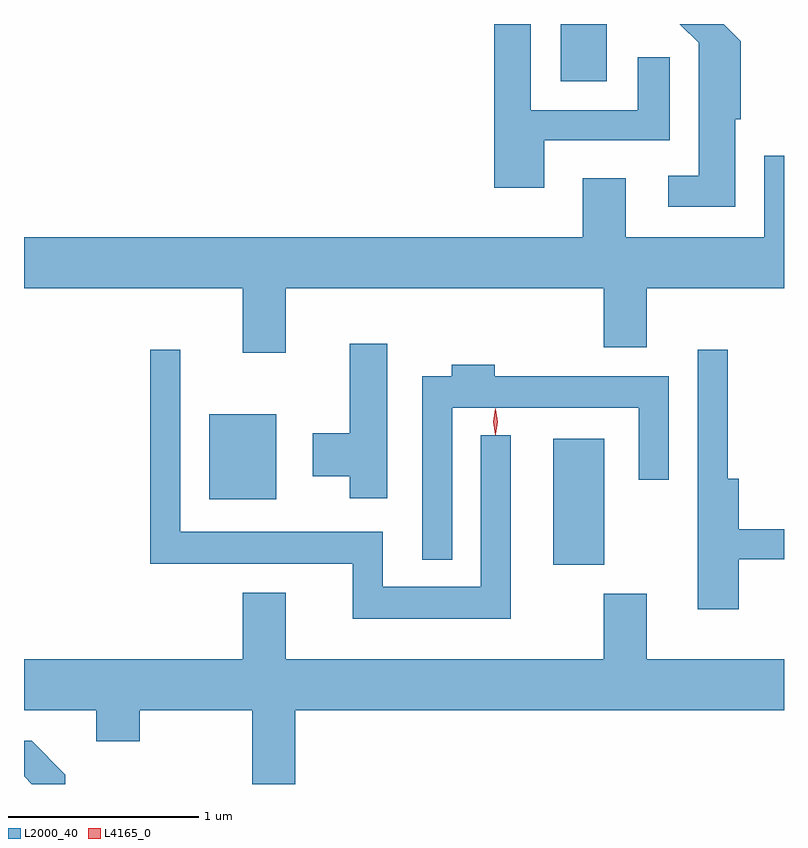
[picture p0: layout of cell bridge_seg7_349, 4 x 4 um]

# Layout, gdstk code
import gdstk
lib = gdstk.Library(unit=1e-6, precision=1e-09)
def R(c, l, rs):  # rectangles x0, y0, x1, y1
    for r in rs: c.add(gdstk.rectangle(r[:2], r[2:], *l))
def P(c, l, *ps):  # polygons
    for p in ps: c.add(gdstk.Polygon(p, *l))
L2000_40 = (2000, 40)
L4165_0 = (4165, 0)

bridge_seg7_349 = lib.new_cell('bridge_seg7_349')
R(bridge_seg7_349, L2000_40, [(1184.656,1763.921,1184.924,1764.584), (1182.846,1764.266,1183.199,1764.714), (1184.696,1766.466,1184.939,1766.767)])
P(bridge_seg7_349, L2000_40, [(1185.614,1766.266),(1185.644,1766.266),(1185.644,1766.677),(1185.554,1766.767),(1185.323,1766.767),(1185.421,1766.669),(1185.421,1765.969),(1185.263,1765.969),(1185.263,1765.806),(1185.614,1765.806)],
  [(1184.609,1766.156),(1185.269,1766.156),(1185.269,1766.593),(1185.101,1766.593),(1185.101,1766.314),(1184.539,1766.314),(1184.539,1766.767),(1184.346,1766.767),(1184.346,1765.906),(1184.609,1765.906)],
  [(1183.249,1765.376),(1184.921,1765.376),(1184.921,1765.066),(1185.149,1765.066),(1185.149,1765.376),(1185.871,1765.376),(1185.871,1766.073),(1185.766,1766.073),(1185.766,1765.644),(1185.039,1765.644),(1185.039,1765.954),(1184.811,1765.954),(1184.811,1765.644),(1181.871,1765.644),(1181.871,1765.376),(1183.021,1765.376),(1183.021,1765.036),(1183.249,1765.036)],
  [(1183.784,1765.084),(1183.586,1765.084),(1183.586,1764.614),(1183.391,1764.614),(1183.391,1764.386),(1183.586,1764.386),(1183.586,1764.271),(1183.784,1764.271)],
  [(1185.634,1763.951),(1185.871,1763.951),(1185.871,1764.109),(1185.634,1764.109),(1185.634,1764.374),(1185.574,1764.374),(1185.574,1765.053),(1185.416,1765.053),(1185.416,1763.686),(1185.634,1763.686)],
  [(1184.434,1764.603),(1184.276,1764.603),(1184.276,1763.804),(1183.759,1763.804),(1183.759,1764.094),(1182.694,1764.094),(1182.694,1765.053),(1182.536,1765.053),(1182.536,1763.926),(1183.601,1763.926),(1183.601,1763.636),(1184.434,1763.636)],
  [(1184.124,1764.746),(1185.106,1764.746),(1185.106,1764.368),(1185.264,1764.368),(1185.264,1764.914),(1184.349,1764.914),(1184.349,1764.974),(1184.121,1764.974),(1184.121,1764.914),(1183.966,1764.914),(1183.966,1763.948),(1184.124,1763.948)],
  [(1183.021,1763.424),(1181.871,1763.424),(1181.871,1763.156),(1182.251,1763.156),(1182.251,1762.991),(1182.479,1762.991),(1182.479,1763.156),(1183.071,1763.156),(1183.071,1762.767),(1183.299,1762.767),(1183.299,1763.156),(1185.871,1763.156),(1185.871,1763.424),(1185.149,1763.424),(1185.149,1763.769),(1184.921,1763.769),(1184.921,1763.424),(1183.249,1763.424),(1183.249,1763.774),(1183.021,1763.774)],
  [(1182.089,1762.817),(1181.912,1762.994),(1181.871,1762.994),(1181.871,1762.809),(1181.913,1762.767),(1182.089,1762.767)])
P(bridge_seg7_349, L4165_0, [(1184.352,1764.603),(1184.352,1764.604),(1184.342,1764.673),(1184.352,1764.742),(1184.352,1764.743),(1184.353,1764.742),(1184.362,1764.673),(1184.353,1764.604)],
  [(1184.354,1764.607),(1184.345,1764.674),(1184.354,1764.74),(1184.355,1764.741),(1184.355,1764.74),(1184.365,1764.674),(1184.355,1764.607),(1184.355,1764.607)])

lib.write_gds('bridge_seg7_349.gds')
